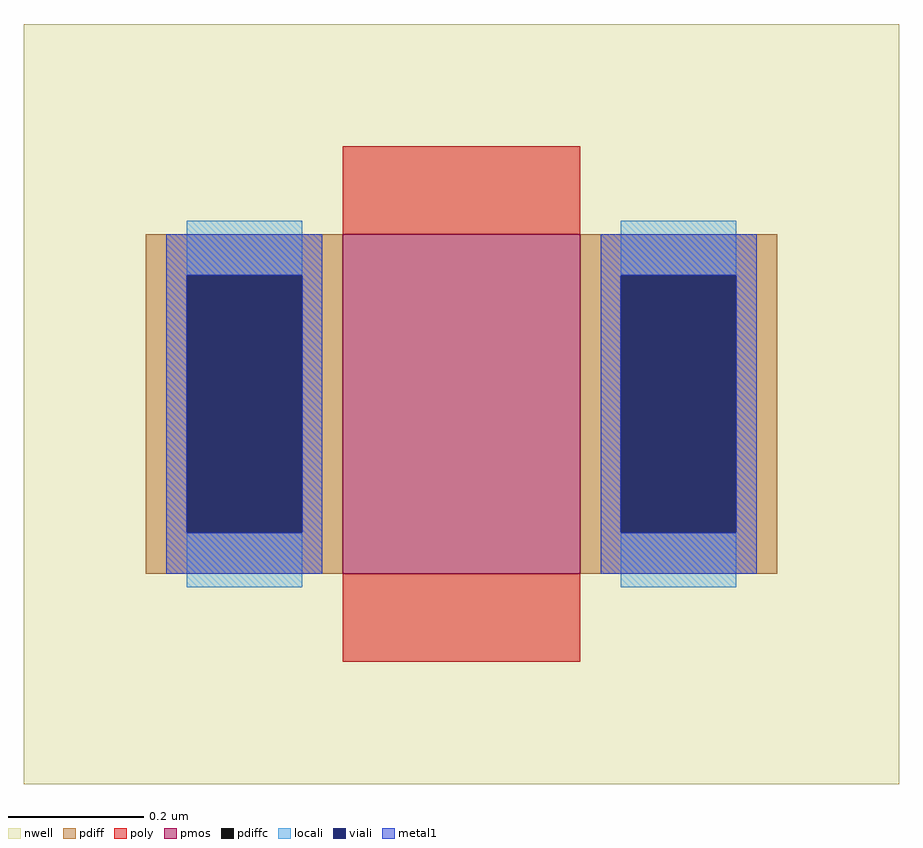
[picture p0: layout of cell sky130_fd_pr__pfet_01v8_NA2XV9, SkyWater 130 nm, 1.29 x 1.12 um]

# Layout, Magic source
magic
tech sky130A
magscale 1 2
<< nwell >>
rect -129 -112 129 112
<< pmos >>
rect -35 -50 35 50
<< pdiff >>
rect -93 38 -35 50
rect -93 -38 -81 38
rect -47 -38 -35 38
rect -93 -50 -35 -38
rect 35 38 93 50
rect 35 -38 47 38
rect 81 -38 93 38
rect 35 -50 93 -38
<< pdiffc >>
rect -81 -38 -47 38
rect 47 -38 81 38
<< poly >>
rect -35 50 35 76
rect -35 -76 35 -50
<< locali >>
rect -81 38 -47 54
rect -81 -54 -47 -38
rect 47 38 81 54
rect 47 -54 81 -38
<< viali >>
rect -81 -38 -47 38
rect 47 -38 81 38
<< metal1 >>
rect -87 38 -41 50
rect -87 -38 -81 38
rect -47 -38 -41 38
rect -87 -50 -41 -38
rect 41 38 87 50
rect 41 -38 47 38
rect 81 -38 87 38
rect 41 -50 87 -38
<< properties >>
string gencell sky130_fd_pr__pfet_01v8
string library sky130
string parameters w 0.5 l 0.35 m 1 nf 1 diffcov 100 polycov 100 guard 0 glc 1 grc 1 gtc 1 gbc 1 tbcov 100 rlcov 100 topc 0 botc 0 poverlap 0 doverlap 0 lmin 0.15 wmin 0.42 class mosfet compatible {sky130_fd_pr__pfet_01v8  sky130_fd_pr__pfet_01v8_lvt sky130_fd_pr__pfet_01v8_hvt  sky130_fd_pr__pfet_g5v0d10v5} full_metal 1 viasrc 100 viadrn 100 viagate 100 viagb 0 viagr 0 viagl 0 viagt 0
<< end >>
